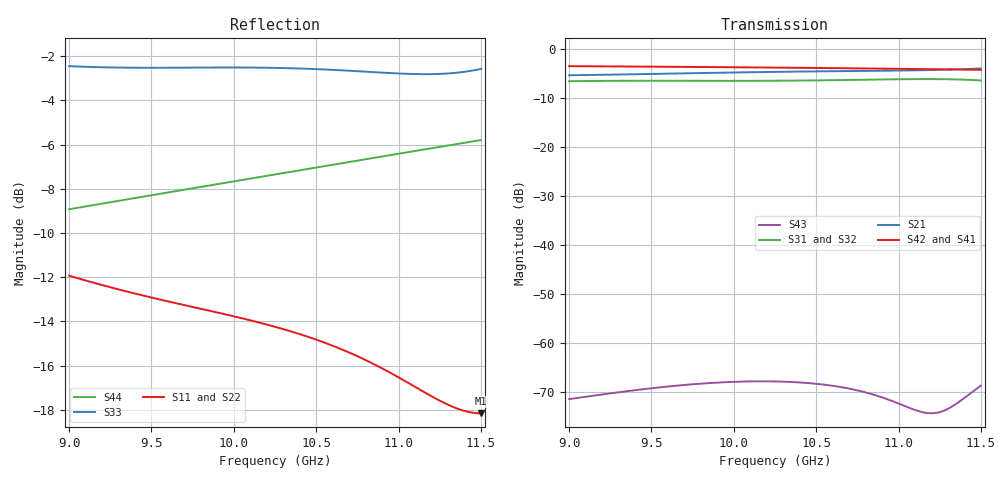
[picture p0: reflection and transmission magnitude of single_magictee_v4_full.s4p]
! Generated from PyAEDT SolutionData; AEDT ExportNetworkData workaround
# GHz S MA R 50
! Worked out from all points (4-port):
!   101 points, 9 GHz to 11.5 GHz, reference 50 ohm
!   strongest paths, dB at 9 GHz, 9.625 GHz, 10.25 GHz, 10.88 GHz, 11.5 GHz:
!     S42: -3.6, -3.7, -3.9, -4.1, -4.3
!     S41: -3.6, -3.7, -3.9, -4.1, -4.3
!     S21: -5.5, -5.1, -4.8, -4.5, -4.1
!     S31: -6.7, -6.6, -6.6, -6.3, -6.5
!     S32: -6.7, -6.6, -6.6, -6.3, -6.5
!     S43: -71.4, -68.8, -67.8, -70.8, -68.7
!   lowest |S11| = -18.2 dB at 11.5 GHz (marker M1), VSWR 1.28, Z = 47.9 - j12 ohm
!   |S11| at or under -10 dB: start of sweep to end of sweep
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9  0.2531 149.8  0.5338 -175.2  0.4645 -77.3  0.6598 46.8
   0.5338 -175.2  0.2514 149.8  0.464 -77.2  0.6608 -133.1
   0.4645 -77.3  0.464 -77.2  0.7543 -148.3  0.0002685 -13.5
   0.6598 46.8  0.6608 -133.1  0.0002685 -13.5  0.3579 -115.0
9.525  0.2248 93.4  0.5516 127.1  0.4695 -165.6  0.6517 -12.6
       0.5516 127.1  0.2231 93.2  0.469 -165.5  0.6527 167.5
       0.4695 -165.6  0.469 -165.5  0.7481 91.3  0.00035 -141.6
       0.6517 -12.6  0.6527 167.5  0.00035 -141.6  0.3863 -171.1
9.925  0.2079 51.4  0.5669 84.5  0.4686 129.0  0.6448 -56.2
       0.5669 84.5  0.2066 51.2  0.4682 129.2  0.6455 123.9
       0.4686 129.0  0.4682 129.2  0.7491 2.4  0.0003974 129.2
       0.6448 -56.2  0.6455 123.9  0.0003974 129.2  0.4094 147.2
10.3  0.1916 12.2  0.5794 45.3  0.4703 68.7  0.6375 -96.0
      0.5794 45.3  0.1909 12.1  0.47 68.9  0.6379 84.1
      0.4703 68.7  0.47 68.9  0.7469 -79.7  0.0004043 51.4
      0.6375 -96.0  0.6379 84.1  0.0004043 51.4  0.4321 108.8
10.775  0.1648 -36.4  0.5909 -2.8  0.4803 -8.5  0.6269 -145.4
        0.5909 -2.8  0.1649 -36.4  0.4803 -8.3  0.6269 34.7
        0.4803 -8.5  0.4803 -8.3  0.7339 173.2  0.0003221 -37.0
        0.6269 -145.4  0.6269 34.7  0.0003221 -37.0  0.4627 60.7
11.15  0.1384 -70.5  0.6015 -39.1  0.4879 -72.4  0.6172 176.1
       0.6015 -39.1  0.1388 -70.1  0.4882 -72.2  0.6169 -3.7
       0.4879 -72.4  0.4882 -72.2  0.7236 80.2  0.0001968 -73.4
       0.6172 176.1  0.6169 -3.7  0.0001968 -73.4  0.4883 23.0
11.5  0.1236 -93.1  0.6267 -71.7  0.4726 -136.4  0.6072 140.5
      0.6267 -71.7  0.124 -92.5  0.4732 -136.2  0.6067 -39.3
      0.4726 -136.4  0.4732 -136.2  0.7435 -17.4  0.0003684 -78.2
      0.6072 140.5  0.6067 -39.3  0.0003684 -78.2  0.5131 -12.1
